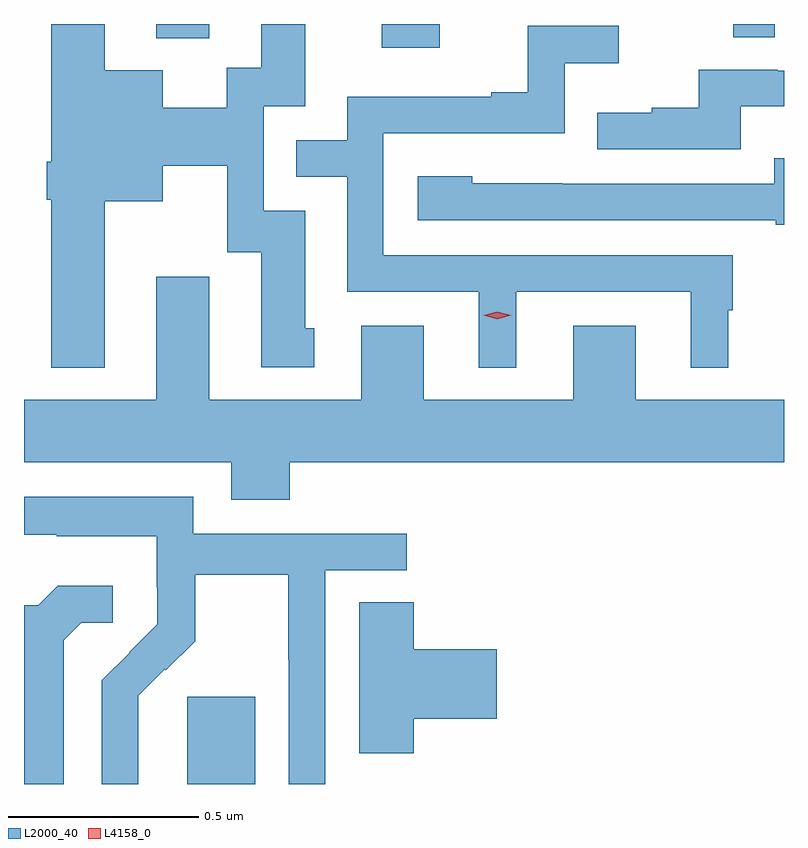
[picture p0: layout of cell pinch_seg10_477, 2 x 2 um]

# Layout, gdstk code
import gdstk
lib = gdstk.Library(unit=1e-6, precision=1e-09)
def R(c, l, rs):  # rectangles x0, y0, x1, y1
    for r in rs: c.add(gdstk.rectangle(r[:2], r[2:], *l))
def P(c, l, *ps):  # polygons
    for p in ps: c.add(gdstk.Polygon(p, *l))
L2000_40 = (2000, 40)
L4158_0 = (4158, 0)

pinch_seg10_477 = lib.new_cell('pinch_seg10_477')
R(pinch_seg10_477, L2000_40, [(350.936,1288.813,351.115,1289.043), (351.449,1290.75,351.601,1290.813), (350.855,1290.776,350.995,1290.813), (352.374,1290.778,352.482,1290.813)])
P(pinch_seg10_477, L2000_40, [(350.719,1290.347),(350.872,1290.347),(350.872,1290.44),(351.042,1290.44),(351.042,1290.213),(351.131,1290.213),(351.131,1289.91),(351.271,1289.91),(351.271,1290.012),(351.247,1290.012),(351.247,1290.321),(351.138,1290.321),(351.138,1290.597),(351.247,1290.597),(351.247,1290.813),(351.131,1290.813),(351.131,1290.698),(351.041,1290.698),(351.041,1290.592),(350.872,1290.592),(350.872,1290.691),(350.719,1290.691),(350.719,1290.813),(350.579,1290.813),(350.579,1290.451),(350.567,1290.451),(350.567,1290.351),(350.579,1290.351),(350.579,1289.909),(350.719,1289.909)],
  [(351.802,1290.108),(352.262,1290.108),(352.262,1289.909),(352.36,1289.909),(352.36,1290.06),(352.372,1290.06),(352.372,1290.204),(351.453,1290.204),(351.453,1290.525),(351.93,1290.525),(351.93,1290.71),(352.072,1290.71),(352.072,1290.809),(351.832,1290.809),(351.832,1290.634),(351.737,1290.634),(351.737,1290.621),(351.357,1290.621),(351.357,1290.507),(351.223,1290.507),(351.223,1290.411),(351.357,1290.411),(351.357,1290.108),(351.704,1290.108),(351.704,1289.909),(351.802,1289.909)],
  [(352.393,1290.596),(352.507,1290.596),(352.507,1290.69),(352.49,1290.69),(352.49,1290.693),(352.283,1290.693),(352.283,1290.592),(352.159,1290.592),(352.159,1290.58),(352.015,1290.58),(352.015,1290.483),(352.393,1290.483)],
  [(352.507,1290.46),(352.481,1290.46),(352.481,1290.393),(351.923,1290.393),(351.923,1290.394),(351.687,1290.394),(351.687,1290.412),(351.543,1290.412),(351.543,1290.297),(352.485,1290.297),(352.485,1290.285),(352.507,1290.285)],
  [(351.206,1289.66),(352.507,1289.66),(352.507,1289.824),(352.117,1289.824),(352.117,1290.019),(351.953,1290.019),(351.953,1289.824),(351.559,1289.824),(351.559,1290.019),(351.395,1290.019),(351.395,1289.824),(350.995,1289.824),(350.995,1290.148),(350.855,1290.148),(350.855,1289.824),(350.507,1289.824),(350.507,1289.66),(351.053,1289.66),(351.053,1289.561),(351.206,1289.561)],
  [(350.808,1288.922),(350.807,1288.922),(350.807,1289.045),(350.877,1289.115),(350.88,1289.112),(350.957,1289.189),(350.957,1289.364),(351.202,1289.364),(351.202,1289.14),(351.204,1289.14),(351.204,1288.813),(351.3,1288.813),(351.3,1289.376),(351.514,1289.376),(351.514,1289.472),(350.952,1289.472),(350.952,1289.569),(350.507,1289.569),(350.507,1289.469),(350.593,1289.469),(350.593,1289.465),(350.856,1289.465),(350.856,1289.331),(350.858,1289.331),(350.858,1289.234),(350.784,1289.16),(350.785,1289.159),(350.712,1289.086),(350.712,1288.813),(350.808,1288.813)],
  [(350.611,1289.191),(350.658,1289.238),(350.74,1289.238),(350.74,1289.335),(350.596,1289.335),(350.544,1289.283),(350.507,1289.283),(350.507,1288.813),(350.611,1288.813)],
  [(351.533,1288.985),(351.751,1288.985),(351.751,1289.168),(351.533,1289.168),(351.533,1289.291),(351.389,1289.291),(351.389,1288.894),(351.533,1288.894)])
P(pinch_seg10_477, L4158_0, [(351.753,1290.036),(351.717,1290.046),(351.717,1290.046),(351.717,1290.046),(351.753,1290.056),(351.789,1290.046),(351.789,1290.046),(351.789,1290.046)])

lib.write_gds('pinch_seg10_477.gds')
